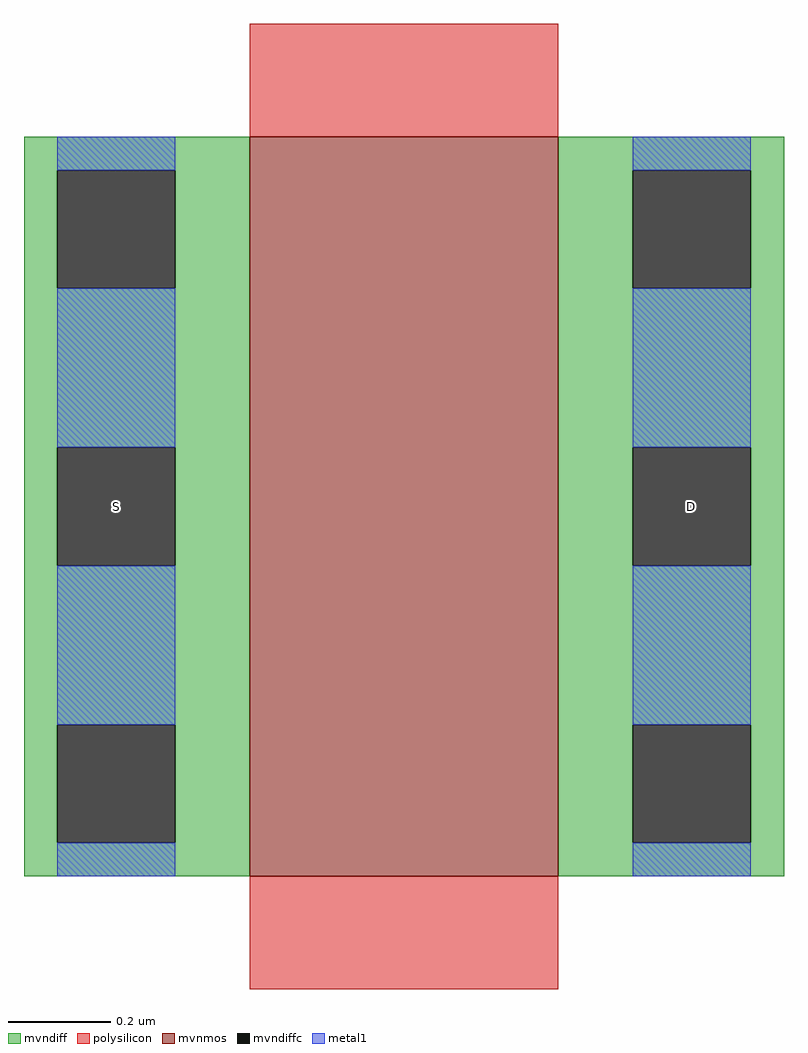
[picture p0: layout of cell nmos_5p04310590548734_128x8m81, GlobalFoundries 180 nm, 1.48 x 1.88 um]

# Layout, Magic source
magic
tech gf180mcuB
magscale 1 10
<< mvnmos >>
rect 0 0 120 288
<< mvndiff >>
rect -88 275 0 288
rect -88 229 -75 275
rect -29 229 0 275
rect -88 167 0 229
rect -88 121 -75 167
rect -29 121 0 167
rect -88 59 0 121
rect -88 13 -75 59
rect -29 13 0 59
rect -88 0 0 13
rect 120 275 208 288
rect 120 229 149 275
rect 195 229 208 275
rect 120 167 208 229
rect 120 121 149 167
rect 195 121 208 167
rect 120 59 208 121
rect 120 13 149 59
rect 195 13 208 59
rect 120 0 208 13
<< mvndiffc >>
rect -75 229 -29 275
rect -75 121 -29 167
rect -75 13 -29 59
rect 149 229 195 275
rect 149 121 195 167
rect 149 13 195 59
<< polysilicon >>
rect 0 288 120 332
rect 0 -44 120 0
<< metal1 >>
rect -75 275 -29 288
rect -75 167 -29 229
rect -75 59 -29 121
rect -75 0 -29 13
rect 149 275 195 288
rect 149 167 195 229
rect 149 59 195 121
rect 149 0 195 13
<< labels >>
flabel metal1 s -52 144 -52 144 0 FreeSans 200 0 0 0 S
flabel metal1 s 172 144 172 144 0 FreeSans 200 0 0 0 D
<< properties >>
string GDS_END 338322
string GDS_FILE $PDKPATH/libs.ref/gf180mcu_fd_ip_sram/gds/gf180mcu_fd_ip_sram__sram128x8m8wm1.gds
string GDS_START 337042
<< end >>
